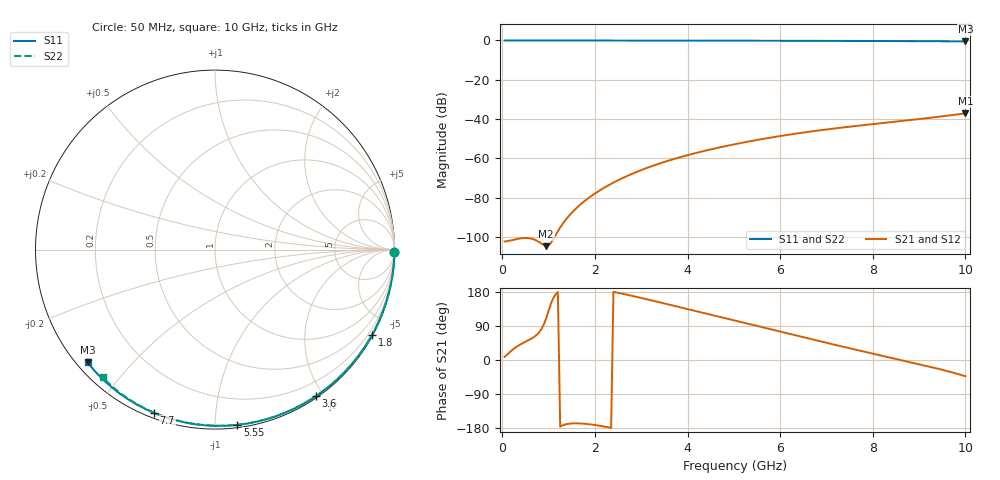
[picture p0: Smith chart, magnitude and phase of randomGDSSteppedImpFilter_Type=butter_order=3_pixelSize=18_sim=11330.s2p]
! freq	dB(S11)	phase(S11)	dB(S12)	phase(S12)
!  dB(S21)	phase(S21)	dB(S22)	phase(S22)
!S-par simulation data
#  GHz  S  DB  R 50
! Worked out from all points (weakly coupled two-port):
!   200 points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, 50 MHz to 10 GHz, reference 50 ohm
!   highest |S21| = -37.10 dB at 10 GHz (marker M1); lowest = -104.7 dB at 950 MHz (marker M2)
!   lowest |S11| = -0.5 dB at 10 GHz (marker M3), VSWR 37.65, Z = 1.52 - j18.9 ohm
!   |S11| at or under -10 dB: nowhere
!   |S22| runs from -0.5 to 0.0 dB; largest |S21 - S12| = 0
!   S11 on the Smith chart (normalised r, x): 50 MHz: open; 1.8 GHz: 0.03, -3.95; 3.6 GHz: 0.02, -1.90; 5.55 GHz: 0.02, -1.14; 7.7 GHz: 0.02, -0.69; 10 GHz: 0.03, -0.38
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0.05  -0.00 -0.8  -102.27 8.3  -102.27 8.3  -0.00 -0.8
0.5  -0.01 -8.0  -100.51 48.2  -100.51 48.2  -0.00 -7.6
0.95  -0.02 -15.1  -104.67 111.3  -104.67 111.3  -0.01 -14.3
1.75  -0.04 -27.6  -82.20 -168.0  -82.20 -168.0  -0.03 -26.2
1.8  -0.04 -28.4  -81.26 -168.5  -81.26 -168.5  -0.03 -26.9
1.85  -0.04 -29.2  -80.36 -169.2  -80.36 -169.2  -0.04 -27.7
1.9  -0.04 -29.9  -79.50 -169.9  -79.50 -169.9  -0.04 -28.4
2.05  -0.04 -32.3  -77.09 -172.5  -77.09 -172.5  -0.04 -30.6
2.25  -0.05 -35.3  -74.24 -176.7  -74.24 -176.7  -0.04 -33.5
2.65  -0.05 -41.4  -69.44 173.4  -69.44 173.4  -0.05 -39.3
3  -0.06 -46.6  -65.96 163.8  -65.96 163.8  -0.06 -44.3
3.4  -0.07 -52.5  -62.57 152.1  -62.57 152.1  -0.07 -49.9
3.6  -0.07 -55.5  -61.06 146.2  -61.06 146.2  -0.07 -52.7
4.3  -0.09 -65.5  -56.56 125.4  -56.56 125.4  -0.09 -62.2
5.05  -0.12 -76.0  -52.65 103.1  -52.65 103.1  -0.11 -72.2
5.55  -0.14 -82.8  -50.43 88.3  -50.43 88.3  -0.13 -78.7
6.1  -0.16 -90.1  -48.26 72.0  -48.26 72.0  -0.15 -85.6
6.7  -0.19 -97.8  -46.20 54.2  -46.20 54.2  -0.18 -93.1
7.7  -0.25 -110.5  -43.34 25.2  -43.34 25.2  -0.24 -105.1
8.35  -0.30 -118.5  -41.68 7.1  -41.68 7.1  -0.28 -112.7
9.2  -0.38 -128.8  -39.45 -16.8  -39.45 -16.8  -0.37 -122.4
10  -0.46 -138.5  -37.10 -42.7  -37.10 -42.7  -0.47 -131.3
